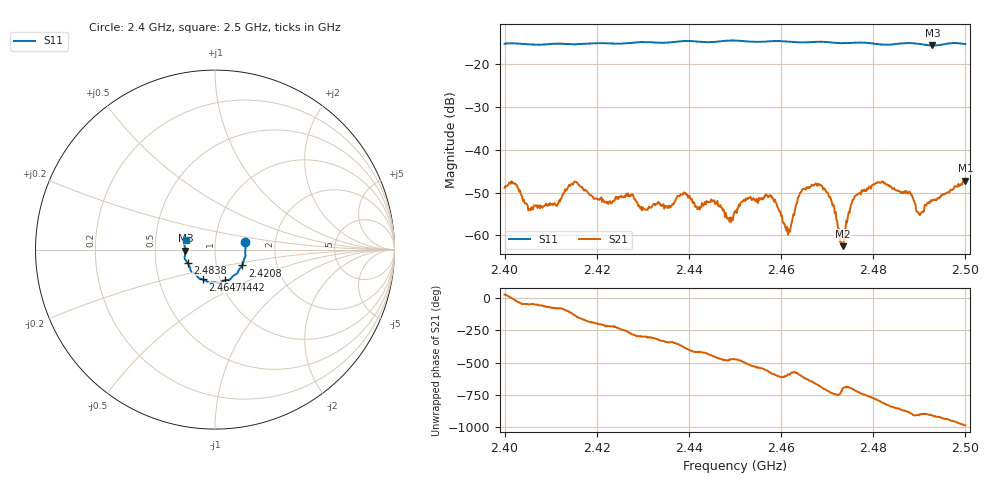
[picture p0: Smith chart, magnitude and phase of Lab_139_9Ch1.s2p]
# Hz S RI R 50
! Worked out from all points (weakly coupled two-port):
!   601 points, 2.4 GHz to 2.5 GHz, reference 50 ohm
!   highest |S21| = -47.21 dB at 2.5 GHz (marker M1); lowest = -62.5 dB at 2.4733 GHz (marker M2)
!   lowest |S11| = -15.6 dB at 2.4928 GHz (marker M3), VSWR 1.40, Z = 35.8 - j0.417 ohm
!   |S11| at or under -10 dB: start of sweep to end of sweep
!   S12 and S22 are empty: the file has one direction only
!   S11 on the Smith chart (normalised r, x): 2.4 GHz: 1.40, +0.12; 2.4208 GHz: 1.33, -0.24; 2.4442 GHz: 1.05, -0.37; 2.4647 GHz: 0.83, -0.29; 2.4838 GHz: 0.73, -0.11; 2.5 GHz: 0.71, +0.07
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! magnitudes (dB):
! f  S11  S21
! 2.4 GHz  -15.2  -48.9
! 2.4023 GHz  -15.1  -47.9
! 2.4057 GHz  -15.4  -54.1
! 2.4167 GHz  -15.3  -48.8
! 2.4208 GHz  -15.1  -51.5
! 2.4333 GHz  -15.0  -52.2
! 2.4388 GHz  -14.6  -50.0
! 2.4442 GHz  -14.9  -52.2
! 2.45 GHz  -14.5  -54.4
! 2.4573 GHz  -14.7  -51.0
! 2.4615 GHz  -14.7  -59.9
! 2.4647 GHz  -14.9  -49.2
! 2.4667 GHz  -14.8  -48.2
! 2.4703 GHz  -14.9  -50.7
! 2.4733 GHz  -15.1  -62.5
! 2.476 GHz  -15.0  -50.8
! 2.4833 GHz  -15.5  -48.5
! 2.4838 GHz  -15.4  -48.6
! 2.488 GHz  -15.1  -50.0
! 2.49 GHz  -15.3  -55.2
! 2.4928 GHz  -15.6  -51.8
! 2.5 GHz  -15.3  -47.2
